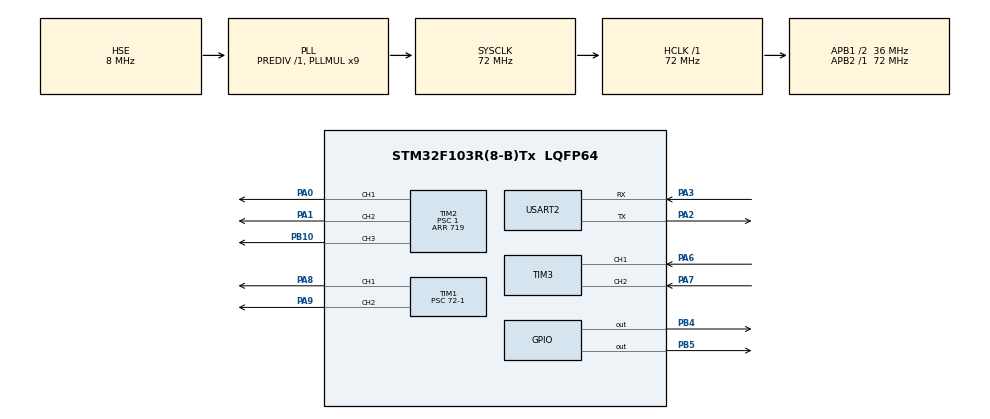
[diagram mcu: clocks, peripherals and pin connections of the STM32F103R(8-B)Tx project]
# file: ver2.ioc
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FREERTOS.BinarySemaphores01=myBinarySem01,Dynamic,NULL,Depleted
FREERTOS.Tasks01=ControlTask,0,256,StartDefaultTask,Default,NULL,Dynamic,NULL,NULL;EncoderTask,0,256,StartTask02,Default,NULL,Dynamic,NULL,NULL
Mcu.Family=STM32F1
Mcu.Name=STM32F103R(8-B)Tx
Mcu.Package=LQFP64
NVIC.PriorityGroup=NVIC_PRIORITYGROUP_4
NVIC.TIM4_IRQn=true\:15\:0\:false\:false\:true\:false\:false\:true\:true
NVIC.TimeBase=TIM4_IRQn
NVIC.TimeBaseIP=TIM4
NVIC.USART2_IRQn=true\:5\:0\:false\:false\:true\:true\:true\:true\:true
PA0-WKUP.Signal=S_TIM2_CH1_ETR
PA1.Signal=S_TIM2_CH2
PA13.Mode=Serial_Wire
PA13.Signal=SYS_JTMS-SWDIO
PA14.Mode=Serial_Wire
PA14.Signal=SYS_JTCK-SWCLK
PA2.Mode=Asynchronous
PA2.Signal=USART2_TX
PA3.Mode=Asynchronous
PA3.Signal=USART2_RX
PA6.Signal=S_TIM3_CH1
PA7.Signal=S_TIM3_CH2
PA8.Signal=S_TIM1_CH1
PA9.Signal=S_TIM1_CH2
PB10.Signal=S_TIM2_CH3
PB4.GPIO_Speed=GPIO_SPEED_FREQ_HIGH
PB4.PinState=GPIO_PIN_RESET
PB4.Signal=GPIO_Output
PB5.GPIO_Speed=GPIO_SPEED_FREQ_HIGH
PB5.PinState=GPIO_PIN_RESET
PB5.Signal=GPIO_Output
PC14-OSC32_IN.Mode=LSE-External-Oscillator
PC14-OSC32_IN.Signal=RCC_OSC32_IN
PC15-OSC32_OUT.Mode=LSE-External-Oscillator
PC15-OSC32_OUT.Signal=RCC_OSC32_OUT
PD0-OSC_IN.Mode=HSE-External-Oscillator
PD0-OSC_IN.Signal=RCC_OSC_IN
PD1-OSC_OUT.Mode=HSE-External-Oscillator
PD1-OSC_OUT.Signal=RCC_OSC_OUT
ProjectManager.HeapSize=0x200
ProjectManager.StackSize=0x400
ProjectManager.TargetToolchain=STM32CubeIDE
RCC.AHBFreq_Value=72000000
RCC.APB1CLKDivider=RCC_HCLK_DIV2
RCC.APB1Freq_Value=36000000
RCC.APB1TimFreq_Value=72000000
RCC.APB2Freq_Value=72000000
RCC.APB2TimFreq_Value=72000000
RCC.HCLKFreq_Value=72000000
RCC.PLLMUL=RCC_PLL_MUL9
RCC.PLLSourceVirtual=RCC_PLLSOURCE_HSE
RCC.SYSCLKFreq_VALUE=72000000
RCC.SYSCLKSource=RCC_SYSCLKSOURCE_PLLCLK
RCC.USBFreq_Value=72000000
SH.S_TIM1_CH1.0=TIM1_CH1,PWM Generation1 CH1
SH.S_TIM1_CH2.0=TIM1_CH2,PWM Generation2 CH2
SH.S_TIM2_CH1_ETR.0=TIM2_CH1,PWM Generation1 CH1
SH.S_TIM2_CH2.0=TIM2_CH2,PWM Generation2 CH2
SH.S_TIM2_CH3.0=TIM2_CH3,PWM Generation3 CH3
SH.S_TIM3_CH1.0=TIM3_CH1,Encoder_Interface
SH.S_TIM3_CH2.0=TIM3_CH2,Encoder_Interface
TIM1.Channel-PWM\ Generation1\ CH1=TIM_CHANNEL_1
TIM1.Channel-PWM\ Generation2\ CH2=TIM_CHANNEL_2
TIM1.Period=20000-1
TIM1.Prescaler=72-1
TIM2.Channel-PWM\ Generation1\ CH1=TIM_CHANNEL_1
TIM2.Channel-PWM\ Generation2\ CH2=TIM_CHANNEL_2
TIM2.Channel-PWM\ Generation3\ CH3=TIM_CHANNEL_3
TIM2.Period=719
TIM2.Prescaler=1
USART2.VirtualMode=VM_ASYNC
VP_FREERTOS_VS_CMSIS_V1.Mode=CMSIS_V1
VP_SYS_VS_tim4.Mode=TIM4
VP_TIM1_VS_ClockSourceINT.Mode=Internal
VP_TIM2_VS_ClockSourceINT.Mode=Internal
board=custom

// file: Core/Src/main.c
	               /* USER CODE BEGIN Header */
/* USER CODE END Header */
#include "main.h"
#include "cmsis_os.h"
#include <string.h>
#include <stdio.h>
#include <stdlib.h>

/* USER CODE BEGIN Includes */
#define RX_BUFFER_SIZE 256
/* USER CODE END Includes */

TIM_HandleTypeDef htim1;
TIM_HandleTypeDef htim2;
TIM_HandleTypeDef htim3;

UART_HandleTypeDef huart2;

osThreadId ControlTaskHandle;
osThreadId EncoderTaskHandle;
osSemaphoreId myBinarySem01Handle;

void SystemClock_Config(void);
static void MX_GPIO_Init(void);
static void MX_TIM1_Init(void);
static void MX_TIM2_Init(void);
static void MX_USART2_UART_Init(void);
static void MX_TIM3_Init(void);
void StartDefaultTask(void const * argument);
void StartTask02(void const * argument);

/* USER CODE BEGIN PFP */
void setServoAngle(uint16_t angle)
{
    if (angle > 180)
    {
        angle = 180;
    }
    float servoResolution = (2450.0 - 450.0)/180;
    uint16_t value =  servoResolution*angle +530;
    TIM1->CCR1=value;
}

void setMotorSpeed(uint16_t speed)
{
    if (speed > 255)
    {
        speed = 255;
    }
    // Giá trị PWM sẽ từ 0 đến 1200
    float motorResolution = (719.0)/255;
    uint16_t value = motorResolution*speed  	;
    TIM2->CCR1 = value;
}
/* USER CODE END PFP */

uint8_t *ptr,motorValue,servoValue;
uint8_t buffer[30] ="0";
uint8_t rx_Buffer[RX_BUFFER_SIZE]="0";
volatile uint8_t rx_index = 0, dataComplete =0;
uint8_t errorMeg[] = "Error: Invalid Command \n";
int main(void)
{

  /* MCU Configuration--------------------------------------------------------*/

  /* Reset of all peripherals, Initializes the Flash interface and the Systick. */
  HAL_Init();

  /* Configure the system clock */
  SystemClock_Config();

  /* Initialize all configured peripherals */
  MX_GPIO_Init();
  MX_TIM1_Init();
  MX_TIM2_Init();
  MX_USART2_UART_Init();
  MX_TIM3_Init();
  /* USER CODE BEGIN 2 */
  HAL_TIM_PWM_Start(&htim1, TIM_CHANNEL_1);
  HAL_TIM_PWM_Start(&htim2, TIM_CHANNEL_1);
  HAL_TIM_Encoder_Start(&htim3, TIM_CHANNEL_ALL);
  /* USER CODE END 2 */

  HAL_UART_Receive_IT (&huart2, (uint8_t *)&rx_Buffer[rx_index], 1);
  /* Create the semaphores(s) */
  /* definition and creation of myBinarySem01 */
  osSemaphoreDef(myBinarySem01);
  myBinarySem01Handle = osSemaphoreCreate(osSemaphore(myBinarySem01), 1);

  /* Create the thread(s) */
  /* definition and creation of ControlTask */
  osThreadDef(ControlTask, StartDefaultTask, osPriorityNormal, 0, 256);
  ControlTaskHandle = osThreadCreate(osThread(ControlTask), NULL);

  /* definition and creation of EncoderTask */
  osThreadDef(EncoderTask, StartTask02, osPriorityNormal, 0, 256);
  EncoderTaskHandle = osThreadCreate(osThread(EncoderTask), NULL);

  /* Start scheduler */
  osKernelStart();

  /* We should never get here as control is now taken by the scheduler */

  /* Infinite loop */
  while (1)
  {

  }
}

void SystemClock_Config(void)
{
  RCC_OscInitTypeDef RCC_OscInitStruct = {0};
  RCC_ClkInitTypeDef RCC_ClkInitStruct = {0};

  /** Initializes the RCC Oscillators according to the specified parameters
  * in the RCC_OscInitTypeDef structure.
  */
  RCC_OscInitStruct.OscillatorType = RCC_OSCILLATORTYPE_HSE;
  RCC_OscInitStruct.HSEState = RCC_HSE_ON;
  RCC_OscInitStruct.HSEPredivValue = RCC_HSE_PREDIV_DIV1;
  RCC_OscInitStruct.HSIState = RCC_HSI_ON;
  RCC_OscInitStruct.PLL.PLLState = RCC_PLL_ON;
  RCC_OscInitStruct.PLL.PLLSource = RCC_PLLSOURCE_HSE;
  RCC_OscInitStruct.PLL.PLLMUL = RCC_PLL_MUL9;
  if (HAL_RCC_OscConfig(&RCC_OscInitStruct) != HAL_OK)
  {
    Error_Handler();
  }

  /** Initializes the CPU, AHB and APB buses clocks
  */
  RCC_ClkInitStruct.ClockType = RCC_CLOCKTYPE_HCLK|RCC_CLOCKTYPE_SYSCLK
                              |RCC_CLOCKTYPE_PCLK1|RCC_CLOCKTYPE_PCLK2;
  RCC_ClkInitStruct.SYSCLKSource = RCC_SYSCLKSOURCE_PLLCLK;
  RCC_ClkInitStruct.AHBCLKDivider = RCC_SYSCLK_DIV1;
  RCC_ClkInitStruct.APB1CLKDivider = RCC_HCLK_DIV2;
  RCC_ClkInitStruct.APB2CLKDivider = RCC_HCLK_DIV1;

  if (HAL_RCC_ClockConfig(&RCC_ClkInitStruct, FLASH_LATENCY_2) != HAL_OK)
  {
    Error_Handler();
  }
}

static void MX_TIM1_Init(void)
{

  TIM_ClockConfigTypeDef sClockSourceConfig = {0};
  TIM_MasterConfigTypeDef sMasterConfig = {0};
  TIM_OC_InitTypeDef sConfigOC = {0};
  TIM_BreakDeadTimeConfigTypeDef sBreakDeadTimeConfig = {0};

  htim1.Instance = TIM1;
  htim1.Init.Prescaler = 72-1;
  htim1.Init.CounterMode = TIM_COUNTERMODE_UP;
  htim1.Init.Period = 20000-1;
  htim1.Init.ClockDivision = TIM_CLOCKDIVISION_DIV1;
  htim1.Init.RepetitionCounter = 0;
  htim1.Init.AutoReloadPreload = TIM_AUTORELOAD_PRELOAD_DISABLE;
  if (HAL_TIM_Base_Init(&htim1) != HAL_OK)
  {
    Error_Handler();
  }
  sClockSourceConfig.ClockSource = TIM_CLOCKSOURCE_INTERNAL;
  if (HAL_TIM_ConfigClockSource(&htim1, &sClockSourceConfig) != HAL_OK)
  {
    Error_Handler();
  }
  if (HAL_TIM_PWM_Init(&htim1) != HAL_OK)
  {
    Error_Handler();
  }
  sMasterConfig.MasterOutputTrigger = TIM_TRGO_RESET;
  sMasterConfig.MasterSlaveMode = TIM_MASTERSLAVEMODE_DISABLE;
  if (HAL_TIMEx_MasterConfigSynchronization(&htim1, &sMasterConfig) != HAL_OK)
  {
    Error_Handler();
  }
  sConfigOC.OCMode = TIM_OCMODE_PWM1;
  sConfigOC.Pulse = 0;
  sConfigOC.OCPolarity = TIM_OCPOLARITY_HIGH;
  sConfigOC.OCNPolarity = TIM_OCNPOLARITY_HIGH;
  sConfigOC.OCFastMode = TIM_OCFAST_DISABLE;
  sConfigOC.OCIdleState = TIM_OCIDLESTATE_RESET;
  sConfigOC.OCNIdleState = TIM_OCNIDLESTATE_RESET;
  if (HAL_TIM_PWM_ConfigChannel(&htim1, &sConfigOC, TIM_CHANNEL_1) != HAL_OK)
  {
    Error_Handler();
  }
  if (HAL_TIM_PWM_ConfigChannel(&htim1, &sConfigOC, TIM_CHANNEL_2) != HAL_OK)
  {
    Error_Handler();
  }
  sBreakDeadTimeConfig.OffStateRunMode = TIM_OSSR_DISABLE;
  sBreakDeadTimeConfig.OffStateIDLEMode = TIM_OSSI_DISABLE;
  sBreakDeadTimeConfig.LockLevel = TIM_LOCKLEVEL_OFF;
  sBreakDeadTimeConfig.DeadTime = 0;
  sBreakDeadTimeConfig.BreakState = TIM_BREAK_DISABLE;
  sBreakDeadTimeConfig.BreakPolarity = TIM_BREAKPOLARITY_HIGH;
  sBreakDeadTimeConfig.AutomaticOutput = TIM_AUTOMATICOUTPUT_DISABLE;
  if (HAL_TIMEx_ConfigBreakDeadTime(&htim1, &sBreakDeadTimeConfig) != HAL_OK)
  {
    Error_Handler();
  }
  HAL_TIM_MspPostInit(&htim1);

}

static void MX_TIM2_Init(void)
{

  TIM_ClockConfigTypeDef sClockSourceConfig = {0};
  TIM_MasterConfigTypeDef sMasterConfig = {0};
  TIM_OC_InitTypeDef sConfigOC = {0};

  htim2.Instance = TIM2;
  htim2.Init.Prescaler = 1;
  htim2.Init.CounterMode = TIM_COUNTERMODE_UP;
  htim2.Init.Period = 719;
  htim2.Init.ClockDivision = TIM_CLOCKDIVISION_DIV1;
  htim2.Init.AutoReloadPreload = TIM_AUTORELOAD_PRELOAD_DISABLE;
  if (HAL_TIM_Base_Init(&htim2) != HAL_OK)
  {
    Error_Handler();
  }
  sClockSourceConfig.ClockSource = TIM_CLOCKSOURCE_INTERNAL;
  if (HAL_TIM_ConfigClockSource(&htim2, &sClockSourceConfig) != HAL_OK)
  {
    Error_Handler();
  }
  if (HAL_TIM_PWM_Init(&htim2) != HAL_OK)
  {
    Error_Handler();
  }
  sMasterConfig.MasterOutputTrigger = TIM_TRGO_RESET;
  sMasterConfig.MasterSlaveMode = TIM_MASTERSLAVEMODE_DISABLE;
  if (HAL_TIMEx_MasterConfigSynchronization(&htim2, &sMasterConfig) != HAL_OK)
  {
    Error_Handler();
  }
  sConfigOC.OCMode = TIM_OCMODE_PWM1;
  sConfigOC.Pulse = 0;
  sConfigOC.OCPolarity = TIM_OCPOLARITY_HIGH;
  sConfigOC.OCFastMode = TIM_OCFAST_DISABLE;
  if (HAL_TIM_PWM_ConfigChannel(&htim2, &sConfigOC, TIM_CHANNEL_1) != HAL_OK)
  {
    Error_Handler();
  }
  if (HAL_TIM_PWM_ConfigChannel(&htim2, &sConfigOC, TIM_CHANNEL_2) != HAL_OK)
  {
    Error_Handler();
  }
  if (HAL_TIM_PWM_ConfigChannel(&htim2, &sConfigOC, TIM_CHANNEL_3) != HAL_OK)
  {
    Error_Handler();
  }
  HAL_TIM_MspPostInit(&htim2);

}

static void MX_TIM3_Init(void)
{

  TIM_Encoder_InitTypeDef sConfig = {0};
  TIM_MasterConfigTypeDef sMasterConfig = {0};

  htim3.Instance = TIM3;
  htim3.Init.Prescaler = 0;
  htim3.Init.CounterMode = TIM_COUNTERMODE_UP;
  htim3.Init.Period = 65535;
  htim3.Init.ClockDivision = TIM_CLOCKDIVISION_DIV1;
  htim3.Init.AutoReloadPreload = TIM_AUTORELOAD_PRELOAD_DISABLE;
  sConfig.EncoderMode = TIM_ENCODERMODE_TI12;
  sConfig.IC1Polarity = TIM_ICPOLARITY_FALLING;
  sConfig.IC1Selection = TIM_ICSELECTION_DIRECTTI;
  sConfig.IC1Prescaler = TIM_ICPSC_DIV1;
  sConfig.IC1Filter = 0;
  sConfig.IC2Polarity = TIM_ICPOLARITY_FALLING;
  sConfig.IC2Selection = TIM_ICSELECTION_DIRECTTI;
  sConfig.IC2Prescaler = TIM_ICPSC_DIV1;
  sConfig.IC2Filter = 0;
  if (HAL_TIM_Encoder_Init(&htim3, &sConfig) != HAL_OK)
  {
    Error_Handler();
  }
  sMasterConfig.MasterOutputTrigger = TIM_TRGO_RESET;
  sMasterConfig.MasterSlaveMode = TIM_MASTERSLAVEMODE_DISABLE;
  if (HAL_TIMEx_MasterConfigSynchronization(&htim3, &sMasterConfig) != HAL_OK)
  {
    Error_Handler();
  }

}

static void MX_USART2_UART_Init(void)
{

  huart2.Instance = USART2;
  huart2.Init.BaudRate = 115200;
  huart2.Init.WordLength = UART_WORDLENGTH_8B;
  huart2.Init.StopBits = UART_STOPBITS_1;
  huart2.Init.Parity = UART_PARITY_NONE;
  huart2.Init.Mode = UART_MODE_TX_RX;
  huart2.Init.HwFlowCtl = UART_HWCONTROL_NONE;
  huart2.Init.OverSampling = UART_OVERSAMPLING_16;
  if (HAL_UART_Init(&huart2) != HAL_OK)
  {
    Error_Handler();
  }

}

static void MX_GPIO_Init(void)
{
  GPIO_InitTypeDef GPIO_InitStruct = {0};

  /* GPIO Ports Clock Enable */
  __HAL_RCC_GPIOC_CLK_ENABLE();
  __HAL_RCC_GPIOD_CLK_ENABLE();
  __HAL_RCC_GPIOA_CLK_ENABLE();
  __HAL_RCC_GPIOB_CLK_ENABLE();

  /*Configure GPIO pin Output Level */
  HAL_GPIO_WritePin(GPIOB, GPIO_PIN_4|GPIO_PIN_5, GPIO_PIN_RESET);

  /*Configure GPIO pins : PB4 PB5 */
  GPIO_InitStruct.Pin = GPIO_PIN_4|GPIO_PIN_5;
  GPIO_InitStruct.Mode = GPIO_MODE_OUTPUT_PP;
  GPIO_InitStruct.Pull = GPIO_NOPULL;
  GPIO_InitStruct.Speed = GPIO_SPEED_FREQ_HIGH;
  HAL_GPIO_Init(GPIOB, &GPIO_InitStruct);

}

void StartDefaultTask(void const * argument)
{
  /* USER CODE BEGIN 5 */
  /* Infinite loop */
  for(;;)
  {
	  osSemaphoreWait(myBinarySem01Handle, osWaitForever);
	  if (dataComplete)
	    	  	    {
	    	  	    	if (rx_Buffer[0]=='M'&&rx_Buffer[1]=='+')
	    	  	    	{
	    	  	    		ptr = rx_Buffer+2;
	    	  	    		motorValue = atoi((char *)ptr);
	    	  	    		sprintf((char *) buffer,"Moto chay tien %d/255 \n",motorValue);
	    	  	    		HAL_GPIO_WritePin(GPIOB, GPIO_PIN_4, 0);
	    	  	    		HAL_GPIO_WritePin(GPIOB, GPIO_PIN_5, 1);
	    	  	    		setMotorSpeed(motorValue);
	    	  	    		HAL_UART_Transmit(&huart2, buffer, sizeof(buffer), 100);
	    	  	    	}
	    	  	    	else if (rx_Buffer[0]=='M'&&rx_Buffer[1]=='-')
	    	  	    	{
	    	  	    		ptr = rx_Buffer+2;
	    	  	    		motorValue = atoi((char *)ptr);
	    	  	    		sprintf((char *) buffer,"Moto chay lui %d/255 \n",motorValue);
	    	  	    		HAL_GPIO_WritePin(GPIOB, GPIO_PIN_4, 1);
	    	  	    		HAL_GPIO_WritePin(GPIOB, GPIO_PIN_5, 0);
	    	  	    		setMotorSpeed(motorValue);
	    	  	    		HAL_UART_Transmit(&huart2, buffer, sizeof(buffer), 100);

	    	  	    	}
	    	  	    	else if (rx_Buffer[0]=='S')
	    	  	    	{
	    	  	    		ptr = rx_Buffer+1;
	    	  	    		servoValue = atoi((char *)ptr);
	    	  	    		sprintf((char *) buffer,"Servo danh lai %d do \n",servoValue);
	    	  	    		setServoAngle(servoValue-5);
	    	  	    		HAL_UART_Transmit(&huart2, buffer, sizeof(buffer), 100);
	    	  	    	}
	    	  	    	else
	    	  	    	{
	    	  	    		HAL_UART_Transmit(&huart2, errorMeg, sizeof(errorMeg), 100);
	    	  	    	}
	    	  			memset(rx_Buffer,0, RX_BUFFER_SIZE);
	    	  			rx_index = 0;
	    	  			dataComplete =0;
	    	  			HAL_UART_Receive_IT (&huart2, (uint8_t *)&rx_Buffer[rx_index], 1);

	    	  	    /* USER CODE BEGIN 3 */
	    	  	  }
	        /* USER CODE BEGIN 3 */
  }
  /* USER CODE END 5 */
}

void HAL_UART_RxCpltCallback(UART_HandleTypeDef *huart)
{
    if (huart->Instance == USART2) // Kiểm tra đúng UART đang dùng
    {

    	if (rx_Buffer[rx_index]==' ')
    	{
    		rx_Buffer[rx_index]='\0';
    		dataComplete =1;
    		osSemaphoreRelease(myBinarySem01Handle);
    	}
    	else
    	{
    		rx_index++;
    		HAL_UART_Receive_IT (&huart2, (uint8_t *)&rx_Buffer[rx_index], 1);
    	}
    }
}
void StartTask02(void const * argument)
{
  /* USER CODE BEGIN StartTask02 */
  /* Infinite loop */
	uint8_t encoder[20]="0";
	uint16_t counterAfter, counterInitial =0,delta;
  for(;;)
  {
		  counterAfter = __HAL_TIM_GET_COUNTER(&htim3);
		  if (__HAL_TIM_IS_TIM_COUNTING_DOWN(&htim3))
	      {
			  if(counterAfter>=counterInitial)
			  {
			  	  delta = 65535 - counterAfter + counterInitial;
			  }
			  else if (counterAfter<counterInitial)
			  {
			  	  delta = counterInitial -  counterAfter;
			  }
	      }
		  else
		  {
			  if(counterAfter>=counterInitial)
			  {
				  delta = counterAfter - counterInitial;
			  }
			  else if (counterAfter<counterInitial)
			  {
				  delta = (65535-counterInitial)+counterAfter+1;
			  }
		  }
		//  speed = 2*3.14*(10*(float)delta/192)*FINAL_DRIVE_RATIO*WHEEL_RADIUS;
	      sprintf((char*)encoder, "%d\n", (int)delta);
	      HAL_UART_Transmit(&huart2, encoder, strlen((char*)encoder), 100);
	      counterInitial = counterAfter;
	      osDelay(1000);

  }
  /* USER CODE END StartTask02 */
}

void HAL_TIM_PeriodElapsedCallback(TIM_HandleTypeDef *htim)
{
  if (htim->Instance == TIM4) {
    HAL_IncTick();
  }
}

void Error_Handler(void)
{
}
